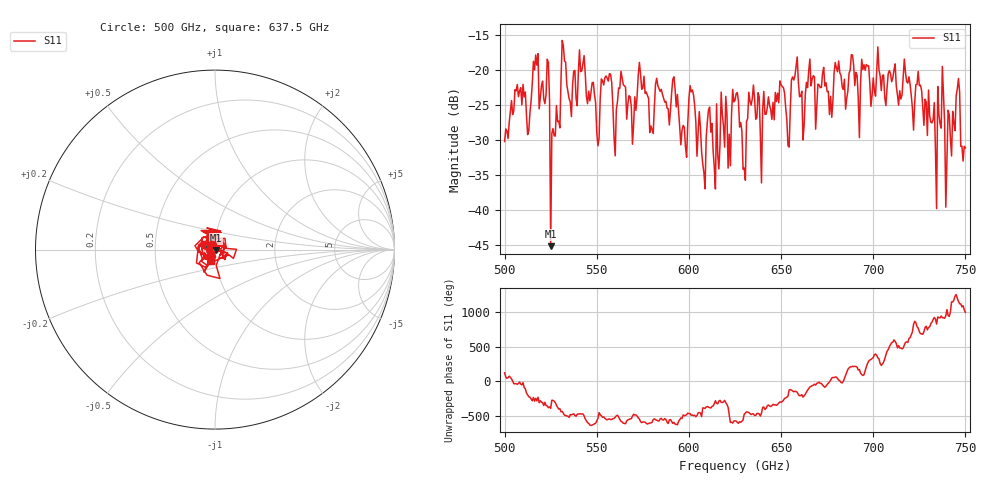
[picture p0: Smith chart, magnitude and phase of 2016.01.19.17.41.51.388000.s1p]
!Created with skrf (http://scikit-rf.org).
# GHz S RI R 50.0
!freq ReS11 ImS11
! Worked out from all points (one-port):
!   401 points, 500 GHz to 750 GHz, reference 50 ohm
!   lowest |S11| = -45.1 dB at 525 GHz (marker M1), VSWR 1.01, Z = 50.5 - j0.313 ohm
!   |S11| at or under -10 dB: start of sweep to end of sweep
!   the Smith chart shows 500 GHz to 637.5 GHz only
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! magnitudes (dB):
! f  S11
! 500 GHz  -30.2
! 506.9 GHz  -22.1
! 513.1 GHz  -28.6
! 516.9 GHz  -17.8
! 525 GHz  -45.1
! 526.2 GHz  -28.3
! 531.2 GHz  -15.8
! 541.9 GHz  -20.1
! 550.6 GHz  -30.8
! 553.8 GHz  -22.1
! 560 GHz  -32.2
! 562.5 GHz  -22.6
! 593.8 GHz  -23.5
! 597.5 GHz  -28.1
! 601.9 GHz  -22.8
! 608.1 GHz  -34.6
! 625 GHz  -24.3
! 630 GHz  -34.0
! 633.8 GHz  -25.0
! 640 GHz  -25.6
! 650.6 GHz  -22.3
! 653.8 GHz  -30.8
! 656.2 GHz  -21.0
! 687.5 GHz  -20.0
! 718.8 GHz  -21.8
! 740.6 GHz  -25.7
! 745.6 GHz  -22.6
! 750 GHz  -31.1
